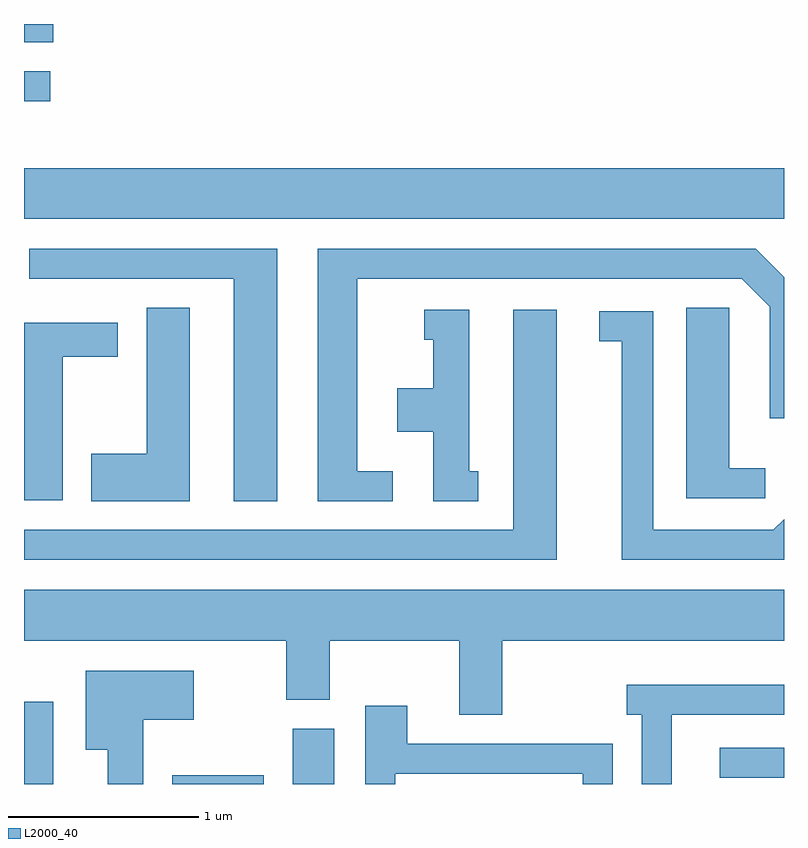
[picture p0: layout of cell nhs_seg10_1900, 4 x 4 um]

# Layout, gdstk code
import gdstk
lib = gdstk.Library(unit=1e-6, precision=1e-09)
def R(c, l, rs):  # rectangles x0, y0, x1, y1
    for r in rs: c.add(gdstk.rectangle(r[:2], r[2:], *l))
def P(c, l, *ps):  # polygons
    for p in ps: c.add(gdstk.Polygon(p, *l))
L2000_40 = (2000, 40)

nhs_seg10_1900 = lib.new_cell('nhs_seg10_1900')
R(nhs_seg10_1900, L2000_40, [(241.611,2086.522,241.764,2086.954), (242.391,2086.522,242.874,2086.569), (243.026,2086.522,243.244,2086.814), (245.273,2086.556,245.611,2086.714), (241.611,2089.496,245.611,2089.764), (241.611,2090.116,241.748,2090.274), (241.611,2090.426,241.764,2090.522)])
P(nhs_seg10_1900, L2000_40, [(243.553,2088.169),(243.364,2088.169),(243.364,2089.181),(245.389,2089.181),(245.536,2089.034),(245.536,2088.448),(245.611,2088.448),(245.611,2089.19),(245.462,2089.339),(243.156,2089.339),(243.156,2088.011),(243.553,2088.011)],
  [(242.944,2089.339),(241.638,2089.339),(241.638,2089.181),(242.716,2089.181),(242.716,2088.011),(242.944,2088.011)],
  [(245.513,2088.184),(245.324,2088.184),(245.324,2089.029),(245.096,2089.029),(245.096,2088.026),(245.513,2088.026)],
  [(242.484,2089.029),(242.256,2089.029),(242.256,2088.259),(241.966,2088.259),(241.966,2088.011),(242.484,2088.011)],
  [(244.003,2088.169),(243.954,2088.169),(243.954,2089.019),(243.718,2089.019),(243.718,2088.861),(243.766,2088.861),(243.766,2088.604),(243.576,2088.604),(243.576,2088.376),(243.766,2088.376),(243.766,2088.011),(244.003,2088.011)],
  [(244.414,2089.019),(244.186,2089.019),(244.186,2087.859),(241.611,2087.859),(241.611,2087.701),(244.414,2087.701)],
  [(245.611,2087.916),(245.554,2087.859),(244.924,2087.859),(244.924,2089.009),(244.638,2089.009),(244.638,2088.851),(244.756,2088.851),(244.756,2087.701),(245.611,2087.701)],
  [(241.814,2088.771),(242.104,2088.771),(242.104,2088.949),(241.611,2088.949),(241.611,2088.016),(241.814,2088.016)],
  [(244.129,2087.276),(245.611,2087.276),(245.611,2087.544),(241.611,2087.544),(241.611,2087.276),(242.991,2087.276),(242.991,2086.966),(243.219,2086.966),(243.219,2087.276),(243.901,2087.276),(243.901,2086.886),(244.129,2086.886)],
  [(242.239,2086.861),(242.504,2086.861),(242.504,2087.119),(241.936,2087.119),(241.936,2086.701),(242.051,2086.701),(242.051,2086.522),(242.239,2086.522)],
  [(245.019,2086.886),(245.611,2086.886),(245.611,2087.044),(244.783,2087.044),(244.783,2086.886),(244.861,2086.886),(244.861,2086.522),(245.019,2086.522)],
  [(243.564,2086.576),(244.551,2086.576),(244.551,2086.522),(244.709,2086.522),(244.709,2086.734),(243.629,2086.734),(243.629,2086.934),(243.406,2086.934),(243.406,2086.522),(243.564,2086.522)])

lib.write_gds('nhs_seg10_1900.gds')
